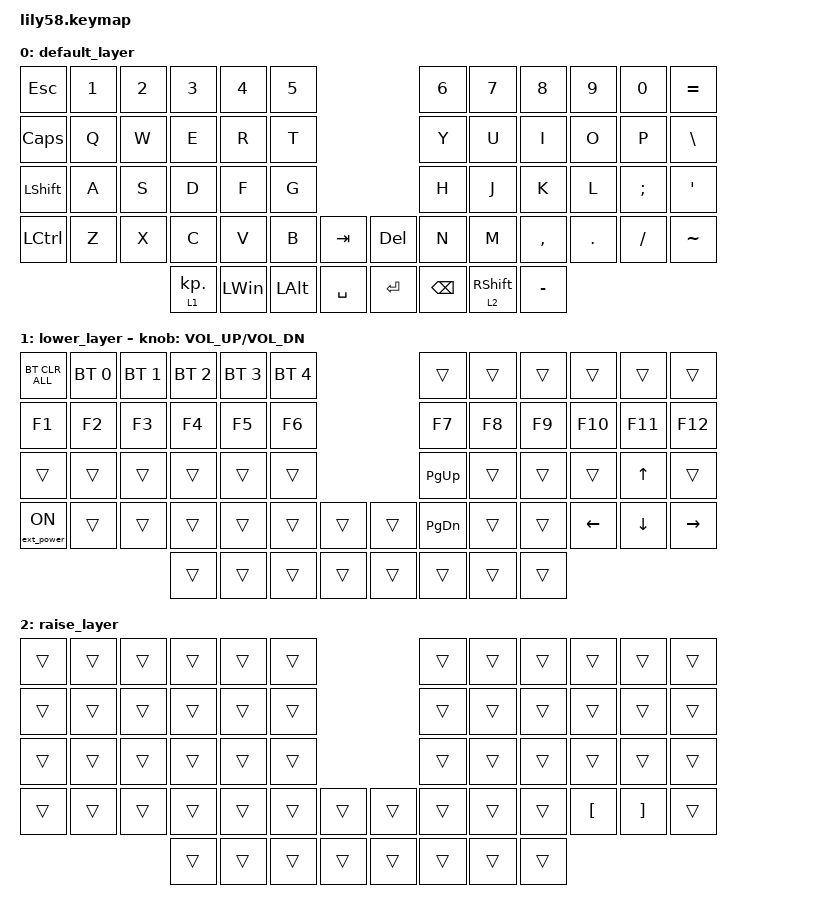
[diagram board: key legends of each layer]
/*
 * Copyright (c) 2020 The ZMK Contributors
 *
 * SPDX-License-Identifier: MIT
 */

#include <behaviors.dtsi>
#include <dt-bindings/zmk/bt.h>
#include <dt-bindings/zmk/ext_power.h>
#include <dt-bindings/zmk/keys.h>

/ {
    keymap {
        compatible = "zmk,keymap";

        default_layer {
            // ------------------------------------------------------------------------------------------------------------
            // |  ESC  |  1  |  2  |  3   |  4   |  5   |                   |  6   |  7    |  8    |  9   |   0   |   `   |
            // |  TAB  |  Q  |  W  |  E   |  R   |  T   |                   |  Y   |  U    |  I    |  O   |   P   |   -   |
            // |  CTRL |  A  |  S  |  D   |  F   |  G   |                   |  H   |  J    |  K    |  L   |   ;   |   '   |
            // | SHIFT |  Z  |  X  |  C   |  V   |  B   |   "["  |  |  "]"  |  N   |  M    |  ,    |  .   |   /   | SHIFT |
            //                     | ALT  | GUI  | LOWER|  SPACE |  | ENTER | RAISE| BSPC  | GUI   |

            bindings = <
&kp ESC         &kp N1  &kp N2  &kp N3        &kp N4        &kp N5                                 &kp N6         &kp N7             &kp N8     &kp N9   &kp N0    &kp EQUAL
&kp CAPS        &kp Q   &kp W   &kp E         &kp R         &kp T                                  &kp Y          &kp U              &kp I      &kp O    &kp P     &kp BACKSLASH
&kp LEFT_SHIFT  &kp A   &kp S   &kp D         &kp F         &kp G                                  &kp H          &kp J              &kp K      &kp L    &kp SEMI  &kp SQT
&kp LCTRL       &kp Z   &kp X   &kp C         &kp V         &kp B         &kp TAB      &kp DELETE  &kp N          &kp M              &kp COMMA  &kp DOT  &kp FSLH  &kp TILDE
                                &lt 1 KP_DOT  &kp LEFT_WIN  &kp LEFT_ALT  &kp SPACE    &kp ENTER   &kp BACKSPACE  &lt 2 RIGHT_SHIFT  &kp MINUS
            >;
        };

        lower_layer {
            // ------------------------------------------------------------------------------------------------------------
            // | BTCLR | BT1 | BT2 |  BT3 |  BT4 |  BT5 |                   |      |       |       |      |       |       |
            // |  F1   |  F2 |  F3 |  F4  |  F5  |  F6  |                   |  F7  |  F8   |  F9   |  F10 |  F11  |  F12  |
            // |   `   |  !  |  @  |  #   |  $   |  %   |                   |  ^   |  &    |  *    |  (   |   )   |   ~   |
            // |       |     |     |      |      |      |        |  |       |      |  _    |  +    |  {   |   }   |  "|"  |
            //                     |      |      |      |        |  |       |      |       |       |

            bindings = <
&bt BT_CLR_ALL    &bt BT_SEL 0  &bt BT_SEL 1  &bt BT_SEL 2  &bt BT_SEL 3  &bt BT_SEL 4                    &trans         &trans  &trans  &trans    &trans    &trans
&kp F1            &kp F2        &kp F3        &kp F4        &kp F5        &kp F6                          &kp F7         &kp F8  &kp F9  &kp F10   &kp F11   &kp F12
&trans            &trans        &trans        &trans        &trans        &trans                          &kp PAGE_UP    &trans  &trans  &trans    &kp UP    &trans
&ext_power EP_ON  &trans        &trans        &trans        &trans        &trans        &trans    &trans  &kp PAGE_DOWN  &trans  &trans  &kp LEFT  &kp DOWN  &kp RIGHT
                                              &trans        &trans        &trans        &trans    &trans  &trans         &trans  &trans
            >;

            sensor-bindings = <&inc_dec_kp C_VOL_UP C_VOL_DN>;
        };

        raise_layer {
            // ------------------------------------------------------------------------------------------------------------
            // |       |     |     |      |      |      |                   |      |       |       |      |       |       |
            // |   `   |  1  |  2  |  3   |  4   |  5   |                   |  6   |   7   |   8   |  9   |   0   |       |
            // |   F1  |  F2 |  F3 |  F4  |  F5  |  F6  |                   |      |   <-  |   v   |  ^   |  ->   |       |
            // |   F7  |  F8 |  F9 |  F10 |  F11 |  F12 |        |  |       |  +   |   -   |   =   |  [   |   ]   |   \   |
            //                     |      |      |      |        |  |       |      |       |       |

            bindings = <
&trans  &trans  &trans  &trans  &trans  &trans                    &trans  &trans  &trans  &trans    &trans    &trans
&trans  &trans  &trans  &trans  &trans  &trans                    &trans  &trans  &trans  &trans    &trans    &trans
&trans  &trans  &trans  &trans  &trans  &trans                    &trans  &trans  &trans  &trans    &trans    &trans
&trans  &trans  &trans  &trans  &trans  &trans  &trans    &trans  &trans  &trans  &trans  &kp LBKT  &kp RBKT  &trans
                        &trans  &trans  &trans  &trans    &trans  &trans  &trans  &trans
            >;
        };
    };
};
